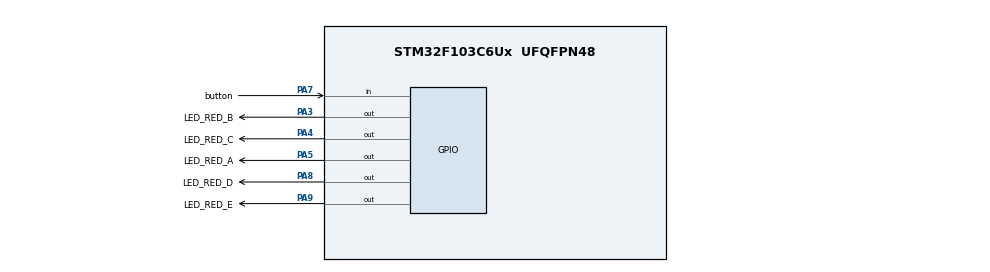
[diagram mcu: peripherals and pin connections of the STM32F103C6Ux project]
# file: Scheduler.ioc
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Mcu.Family=STM32F1
Mcu.Name=STM32F103C6Ux
Mcu.Package=UFQFPN48
NVIC.PriorityGroup=NVIC_PRIORITYGROUP_4
NVIC.TIM2_IRQn=true\:0\:0\:false\:false\:true\:true\:true
PA3.GPIO_Label=LED_RED_B
PA3.Signal=GPIO_Output
PA4.GPIO_Label=LED_RED_C
PA4.Signal=GPIO_Output
PA5.GPIO_Label=LED_RED_A
PA5.Signal=GPIO_Output
PA7.GPIO_Label=button
PA7.GPIO_PuPd=GPIO_PULLUP
PA7.Signal=GPIO_Input
PA8.GPIO_Label=LED_RED_D
PA8.Signal=GPIO_Output
PA9.GPIO_Label=LED_RED_E
PA9.Signal=GPIO_Output
ProjectManager.HeapSize=0x200
ProjectManager.StackSize=0x400
ProjectManager.TargetToolchain=STM32CubeIDE
RCC.APB1Freq_Value=8000000
RCC.APB2Freq_Value=8000000
TIM2.Period=9
TIM2.Prescaler=7999
VP_SYS_VS_ND.Mode=No_Debug
VP_TIM2_VS_ClockSourceINT.Mode=Internal
board=custom

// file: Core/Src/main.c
/* USER CODE BEGIN Header */
/**
  ******************************************************************************
  * @file           : main.c
  * @brief          : Main program body
  ******************************************************************************
  * @attention
  *
  * <h2><center>&copy; Copyright (c) 2022 STMicroelectronics.
  * All rights reserved.</center></h2>
  *
  * This software component is licensed by ST under BSD 3-Clause license,
  * the "License"; You may not use this file except in compliance with the
  * License. You may obtain a copy of the License at:
  *                        opensource.org/licenses/BSD-3-Clause
  *
  ******************************************************************************
  */
/* USER CODE END Header */
#include "main.h"

/* USER CODE BEGIN Includes */
#include "software_timer.h"
#include "scheduler.h"
#include "button.h"
/* USER CODE END Includes */

TIM_HandleTypeDef htim2;

void SystemClock_Config(void);
static void MX_GPIO_Init(void);
static void MX_TIM2_Init(void);

/* USER CODE BEGIN 0 */
void triggerLedA() {
	HAL_GPIO_TogglePin(LED_RED_A_GPIO_Port, LED_RED_A_Pin);
}

void triggerLedB() {
	HAL_GPIO_TogglePin(LED_RED_B_GPIO_Port, LED_RED_B_Pin);
}

void triggerLedC() {
	HAL_GPIO_TogglePin(LED_RED_C_GPIO_Port, LED_RED_C_Pin);
}

void triggerLedD() {
	HAL_GPIO_TogglePin(LED_RED_D_GPIO_Port, LED_RED_D_Pin);
}

void triggerLedE() {
	HAL_GPIO_TogglePin(LED_RED_E_GPIO_Port, LED_RED_E_Pin);
}
/* USER CODE END 0 */

int main(void)
{

  /* MCU Configuration--------------------------------------------------------*/

  /* Reset of all peripherals, Initializes the Flash interface and the Systick. */
  HAL_Init();

  /* Configure the system clock */
  SystemClock_Config();

  /* Initialize all configured peripherals */
  MX_GPIO_Init();
  MX_TIM2_Init();
  /* USER CODE BEGIN 2 */
  HAL_TIM_Base_Start_IT (& htim2) ;
  /* USER CODE END 2 */

  /* Infinite loop */
  /* USER CODE BEGIN WHILE */
//  SCH_Add_Task(led1test, 200, 0);
  SCH_Add_Task(getKeyInput, 0, 1);
  SCH_Add_Task(timerRun, 0, 1);
  SCH_Add_Task(triggerLedA, 50 , 1);
  SCH_Add_Task(triggerLedB, 100 , 1);
  SCH_Add_Task(triggerLedC, 150 , 1);
  SCH_Add_Task(triggerLedD, 200 , 1);
  SCH_Add_Task(triggerLedE, 250 , 1);
  while (1)
  {

	SCH_Dispatch_Tasks();
    /* USER CODE END WHILE */

  }
}

void SystemClock_Config(void)
{
  RCC_OscInitTypeDef RCC_OscInitStruct = {0};
  RCC_ClkInitTypeDef RCC_ClkInitStruct = {0};

  /** Initializes the RCC Oscillators according to the specified parameters
  * in the RCC_OscInitTypeDef structure.
  */
  RCC_OscInitStruct.OscillatorType = RCC_OSCILLATORTYPE_HSI;
  RCC_OscInitStruct.HSIState = RCC_HSI_ON;
  RCC_OscInitStruct.HSICalibrationValue = RCC_HSICALIBRATION_DEFAULT;
  RCC_OscInitStruct.PLL.PLLState = RCC_PLL_NONE;
  if (HAL_RCC_OscConfig(&RCC_OscInitStruct) != HAL_OK)
  {
    Error_Handler();
  }
  /** Initializes the CPU, AHB and APB buses clocks
  */
  RCC_ClkInitStruct.ClockType = RCC_CLOCKTYPE_HCLK|RCC_CLOCKTYPE_SYSCLK
                              |RCC_CLOCKTYPE_PCLK1|RCC_CLOCKTYPE_PCLK2;
  RCC_ClkInitStruct.SYSCLKSource = RCC_SYSCLKSOURCE_HSI;
  RCC_ClkInitStruct.AHBCLKDivider = RCC_SYSCLK_DIV1;
  RCC_ClkInitStruct.APB1CLKDivider = RCC_HCLK_DIV1;
  RCC_ClkInitStruct.APB2CLKDivider = RCC_HCLK_DIV1;

  if (HAL_RCC_ClockConfig(&RCC_ClkInitStruct, FLASH_LATENCY_0) != HAL_OK)
  {
    Error_Handler();
  }
}

static void MX_TIM2_Init(void)
{

  TIM_ClockConfigTypeDef sClockSourceConfig = {0};
  TIM_MasterConfigTypeDef sMasterConfig = {0};

  htim2.Instance = TIM2;
  htim2.Init.Prescaler = 7999;
  htim2.Init.CounterMode = TIM_COUNTERMODE_UP;
  htim2.Init.Period = 9;
  htim2.Init.ClockDivision = TIM_CLOCKDIVISION_DIV1;
  htim2.Init.AutoReloadPreload = TIM_AUTORELOAD_PRELOAD_DISABLE;
  if (HAL_TIM_Base_Init(&htim2) != HAL_OK)
  {
    Error_Handler();
  }
  sClockSourceConfig.ClockSource = TIM_CLOCKSOURCE_INTERNAL;
  if (HAL_TIM_ConfigClockSource(&htim2, &sClockSourceConfig) != HAL_OK)
  {
    Error_Handler();
  }
  sMasterConfig.MasterOutputTrigger = TIM_TRGO_RESET;
  sMasterConfig.MasterSlaveMode = TIM_MASTERSLAVEMODE_DISABLE;
  if (HAL_TIMEx_MasterConfigSynchronization(&htim2, &sMasterConfig) != HAL_OK)
  {
    Error_Handler();
  }

}

static void MX_GPIO_Init(void)
{
  GPIO_InitTypeDef GPIO_InitStruct = {0};

  /* GPIO Ports Clock Enable */
  __HAL_RCC_GPIOA_CLK_ENABLE();

  /*Configure GPIO pin Output Level */
  HAL_GPIO_WritePin(GPIOA, LED_RED_B_Pin|LED_RED_C_Pin|LED_RED_A_Pin|LED_RED_D_Pin
                          |LED_RED_E_Pin, GPIO_PIN_RESET);

  /*Configure GPIO pins : LED_RED_B_Pin LED_RED_C_Pin LED_RED_A_Pin LED_RED_D_Pin
                           LED_RED_E_Pin */
  GPIO_InitStruct.Pin = LED_RED_B_Pin|LED_RED_C_Pin|LED_RED_A_Pin|LED_RED_D_Pin
                          |LED_RED_E_Pin;
  GPIO_InitStruct.Mode = GPIO_MODE_OUTPUT_PP;
  GPIO_InitStruct.Pull = GPIO_NOPULL;
  GPIO_InitStruct.Speed = GPIO_SPEED_FREQ_LOW;
  HAL_GPIO_Init(GPIOA, &GPIO_InitStruct);

  /*Configure GPIO pin : button_Pin */
  GPIO_InitStruct.Pin = button_Pin;
  GPIO_InitStruct.Mode = GPIO_MODE_INPUT;
  GPIO_InitStruct.Pull = GPIO_PULLUP;
  HAL_GPIO_Init(button_GPIO_Port, &GPIO_InitStruct);

}

/* USER CODE BEGIN 4 */
void HAL_TIM_PeriodElapsedCallback(TIM_HandleTypeDef *htim) {
	 SCH_Update();
	 timerRun();
//	 getKeyInput();
 }
/* USER CODE END 4 */

void Error_Handler(void)
{
  __disable_irq();
  while (1)
  {
  }
}

/************************ (C) COPYRIGHT STMicroelectronics *****END OF FILE****/
